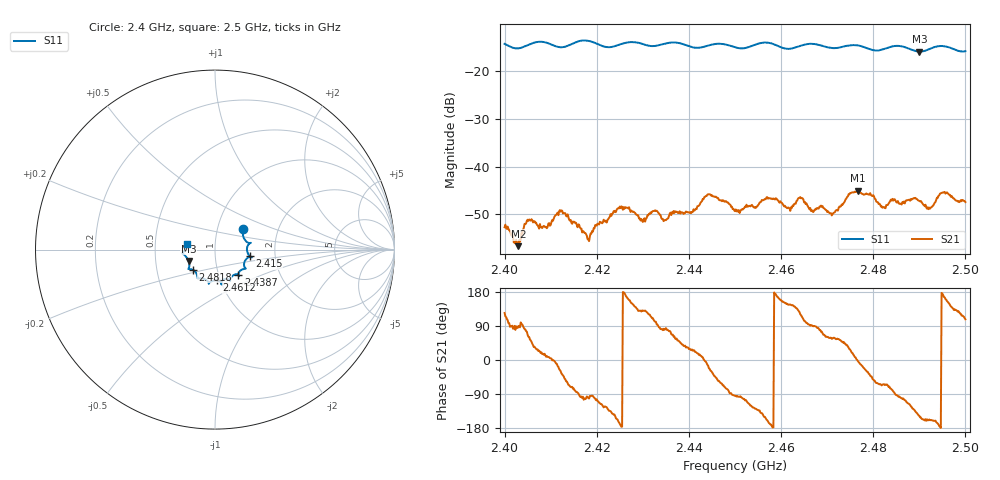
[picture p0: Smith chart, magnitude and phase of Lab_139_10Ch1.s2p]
# Hz S RI R 50
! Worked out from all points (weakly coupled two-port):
!   601 points, 2.4 GHz to 2.5 GHz, reference 50 ohm
!   highest |S21| = -45.04 dB at 2.4767 GHz (marker M1); lowest = -56.6 dB at 2.403 GHz (marker M2)
!   lowest |S11| = -15.9 dB at 2.49 GHz (marker M3), VSWR 1.38, Z = 36.9 - j4.83 ohm
!   |S11| at or under -10 dB: start of sweep to end of sweep
!   S12 and S22 are empty: the file has one direction only
!   S11 on the Smith chart (normalised r, x): 2.4 GHz: 1.33, +0.31; 2.415 GHz: 1.47, -0.11; 2.4387 GHz: 1.24, -0.36; 2.4612 GHz: 0.96, -0.34; 2.4818 GHz: 0.76, -0.18; 2.5 GHz: 0.73, +0.05
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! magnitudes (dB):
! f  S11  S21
! 2.4 GHz  -14.3  -52.7
! 2.403 GHz  -15.2  -56.6
! 2.4053 GHz  -14.4  -51.0
! 2.4088 GHz  -14.0  -52.7
! 2.4123 GHz  -15.0  -49.1
! 2.415 GHz  -14.1  -51.6
! 2.4167 GHz  -13.6  -53.0
! 2.4183 GHz  -13.7  -55.6
! 2.425 GHz  -14.4  -48.3
! 2.4333 GHz  -14.6  -49.6
! 2.4387 GHz  -14.3  -49.6
! 2.4445 GHz  -14.5  -45.8
! 2.45 GHz  -15.0  -49.3
! 2.4612 GHz  -15.3  -48.5
! 2.4642 GHz  -14.7  -46.4
! 2.4667 GHz  -14.3  -49.1
! 2.4712 GHz  -15.2  -50.0
! 2.4767 GHz  -14.6  -45.0
! 2.4818 GHz  -15.5  -48.3
! 2.4833 GHz  -15.0  -47.7
! 2.49 GHz  -15.9  -47.2
! 2.5 GHz  -15.8  -47.4
